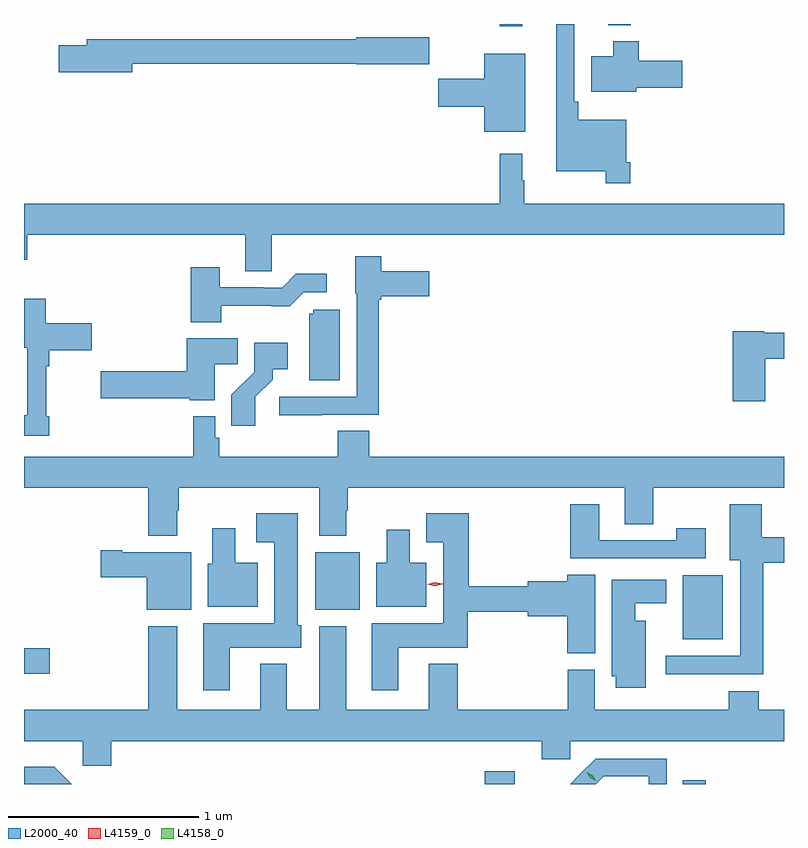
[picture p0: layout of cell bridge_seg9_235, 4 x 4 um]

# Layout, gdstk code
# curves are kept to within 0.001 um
import gdstk
lib = gdstk.Library(unit=1e-6, precision=1e-09)
def R(c, l, rs):  # rectangles x0, y0, x1, y1
    for r in rs: c.add(gdstk.rectangle(r[:2], r[2:], *l))
def P(c, l, *ps):  # polygons
    for p in ps: c.add(gdstk.Polygon(p, *l))
L2000_40 = (2000, 40)
L4158_0 = (4158, 0)
L4159_0 = (4159, 0)

bridge_seg9_235 = lib.new_cell('bridge_seg9_235')
R(bridge_seg9_235, L2000_40, [(268.59,1185.538,268.747,1185.604), (269.632,1185.538,269.751,1185.559), (266.164,1186.118,266.299,1186.253), (269.63,1186.301,269.842,1186.636), (267.698,1186.454,267.931,1186.759), (268.669,1189.527,268.787,1189.538), (269.24,1189.532,269.357,1189.538)])
P(bridge_seg9_235, L2000_40, [(269.354,1188.811),(269.334,1188.811),(269.334,1189.033),(269.081,1189.033),(269.081,1189.129),(269.061,1189.129),(269.061,1189.538),(268.964,1189.538),(268.964,1188.764),(269.226,1188.764),(269.226,1188.699),(269.354,1188.699)],
  [(266.734,1189.33),(267.912,1189.33),(267.912,1189.325),(268.297,1189.325),(268.297,1189.467),(267.912,1189.467),(267.912,1189.459),(266.495,1189.459),(266.495,1189.425),(266.346,1189.425),(266.346,1189.283),(266.734,1189.283)],
  [(269.386,1189.202),(269.629,1189.202),(269.629,1189.344),(269.399,1189.344),(269.399,1189.447),(269.264,1189.447),(269.264,1189.369),(269.15,1189.369),(269.15,1189.181),(269.386,1189.181)],
  [(268.801,1189.381),(268.586,1189.381),(268.586,1189.25),(268.344,1189.25),(268.344,1189.103),(268.586,1189.103),(268.586,1188.971),(268.801,1188.971)],
  [(267.468,1188.428),(270.164,1188.428),(270.164,1188.592),(268.798,1188.592),(268.798,1188.716),(268.786,1188.716),(268.786,1188.856),(268.669,1188.856),(268.669,1188.592),(266.164,1188.592),(266.164,1188.297),(266.18,1188.297),(266.18,1188.428),(267.329,1188.428),(267.329,1188.238),(267.468,1188.238)],
  [(267.731,1187.481),(268.031,1187.481),(268.031,1188.086),(268.044,1188.086),(268.044,1188.104),(268.297,1188.104),(268.297,1188.238),(268.044,1188.238),(268.044,1188.316),(267.908,1188.316),(267.908,1188.12),(267.915,1188.12),(267.915,1187.577),(267.507,1187.577),(267.507,1187.479),(267.731,1187.479)],
  [(267.201,1188.054),(267.563,1188.053),(267.636,1188.126),(267.757,1188.126),(267.757,1188.223),(267.595,1188.223),(267.522,1188.15),(267.422,1188.15),(267.422,1188.153),(267.193,1188.153),(267.193,1188.259),(267.041,1188.259),(267.041,1187.969),(267.201,1187.969)],
  [(266.297,1187.473),(266.282,1187.473),(266.282,1187.738),(266.297,1187.738),(266.297,1187.822),(266.521,1187.822),(266.521,1187.964),(266.278,1187.964),(266.278,1188.091),(266.164,1188.091),(266.164,1187.834),(266.18,1187.834),(266.18,1187.479),(266.164,1187.479),(266.164,1187.37),(266.297,1187.37)],
  [(267.826,1188.033),(267.687,1188.033),(267.687,1188.012),(267.665,1188.012),(267.665,1187.664),(267.826,1187.664)],
  [(270.064,1187.776),(270.164,1187.776),(270.164,1187.912),(270.06,1187.912),(270.06,1187.92),(269.894,1187.92),(269.894,1187.553),(270.064,1187.553)],
  [(267.169,1187.746),(267.29,1187.746),(267.29,1187.884),(267.02,1187.884),(267.02,1187.711),(266.568,1187.711),(266.568,1187.569),(267.036,1187.569),(267.036,1187.558),(267.169,1187.558)],
  [(267.382,1187.575),(267.472,1187.665),(267.472,1187.72),(267.553,1187.72),(267.553,1187.86),(267.375,1187.86),(267.375,1187.705),(267.256,1187.586),(267.256,1187.424),(267.382,1187.424)],
  [(266.971,1186.976),(266.979,1186.976),(266.979,1187.096),(267.719,1187.096),(267.719,1186.844),(267.859,1186.844),(267.859,1186.976),(267.867,1186.976),(267.867,1187.096),(269.327,1187.096),(269.327,1186.906),(269.475,1186.906),(269.475,1187.096),(270.164,1187.096),(270.164,1187.26),(267.98,1187.26),(267.98,1187.396),(267.815,1187.396),(267.815,1187.26),(267.191,1187.26),(267.191,1187.361),(267.171,1187.361),(267.171,1187.473),(267.055,1187.473),(267.055,1187.26),(266.164,1187.26),(266.164,1187.096),(266.819,1187.096),(266.819,1186.844),(266.971,1186.844)],
  [(269.752,1186.885),(269.596,1186.885),(269.596,1186.821),(269.191,1186.821),(269.191,1187.011),(269.039,1187.011),(269.039,1186.725),(269.752,1186.725)],
  [(270.054,1186.703),(270.164,1186.703),(270.164,1186.837),(270.046,1186.837),(270.046,1187.011),(269.879,1187.011),(269.879,1186.715),(269.933,1186.715),(269.933,1186.212),(269.541,1186.212),(269.541,1186.115),(270.054,1186.115)],
  [(267.247,1186.256),(267.622,1186.256),(267.622,1186.374),(267.604,1186.374),(267.604,1186.963),(267.387,1186.963),(267.387,1186.811),(267.482,1186.811),(267.482,1186.384),(267.107,1186.384),(267.107,1186.032),(267.247,1186.032)],
  [(268.135,1186.256),(268.5,1186.256),(268.5,1186.444),(268.814,1186.444),(268.814,1186.421),(269.024,1186.421),(269.024,1186.225),(269.17,1186.225),(269.17,1186.64),(269.024,1186.64),(269.024,1186.604),(268.814,1186.604),(268.814,1186.58),(268.505,1186.58),(268.505,1186.963),(268.28,1186.963),(268.28,1186.811),(268.37,1186.811),(268.37,1186.384),(267.995,1186.384),(267.995,1186.032),(268.135,1186.032)],
  [(267.394,1186.702),(267.277,1186.702),(267.277,1186.885),(267.155,1186.885),(267.155,1186.698),(267.131,1186.698),(267.131,1186.472),(267.394,1186.472)],
  [(268.282,1186.702),(268.195,1186.702),(268.195,1186.876),(268.073,1186.876),(268.073,1186.702),(268.019,1186.702),(268.019,1186.472),(268.282,1186.472)],
  [(267.043,1186.759),(266.68,1186.759),(266.68,1186.767),(266.568,1186.767),(266.568,1186.625),(266.81,1186.625),(266.81,1186.454),(267.043,1186.454)],
  [(269.437,1186.396),(269.38,1186.396),(269.38,1186.49),(269.545,1186.49),(269.545,1186.612),(269.258,1186.612),(269.258,1186.104),(269.279,1186.104),(269.279,1186.044),(269.437,1186.044)],
  [(270.164,1185.928),(270.032,1185.928),(270.032,1186.027),(269.872,1186.027),(269.872,1185.928),(269.167,1185.928),(269.167,1186.14),(269.027,1186.14),(269.027,1185.928),(268.448,1185.928),(268.448,1186.171),(268.295,1186.171),(268.295,1185.928),(267.859,1185.928),(267.859,1186.369),(267.719,1186.369),(267.719,1185.928),(267.547,1185.928),(267.547,1186.171),(267.407,1186.171),(267.407,1185.928),(266.971,1185.928),(266.971,1186.369),(266.819,1186.369),(266.819,1185.928),(266.164,1185.928),(266.164,1185.764),(266.472,1185.764),(266.472,1185.633),(266.624,1185.633),(266.624,1185.764),(268.889,1185.764),(268.889,1185.669),(269.04,1185.669),(269.04,1185.764),(270.164,1185.764)],
  [(269.214,1185.579),(269.451,1185.579),(269.451,1185.538),(269.547,1185.538),(269.547,1185.672),(269.174,1185.672),(269.09,1185.589),(269.038,1185.538),(269.173,1185.538)],
  [(266.324,1185.628),(266.164,1185.628),(266.164,1185.538),(266.414,1185.538)])
P(bridge_seg9_235, L4158_0, [(269.174,1185.556),(269.143,1185.57),(269.125,1185.6),(269.125,1185.6),(269.125,1185.6),(269.156,1185.585),(269.174,1185.556),(269.174,1185.556)])
P(bridge_seg9_235, L4159_0, [(268.327,1186.58),(268.287,1186.59),(268.287,1186.59),(268.287,1186.59),(268.327,1186.6),(268.366,1186.591),(268.367,1186.591),(268.366,1186.59)])

lib.write_gds('bridge_seg9_235.gds')
